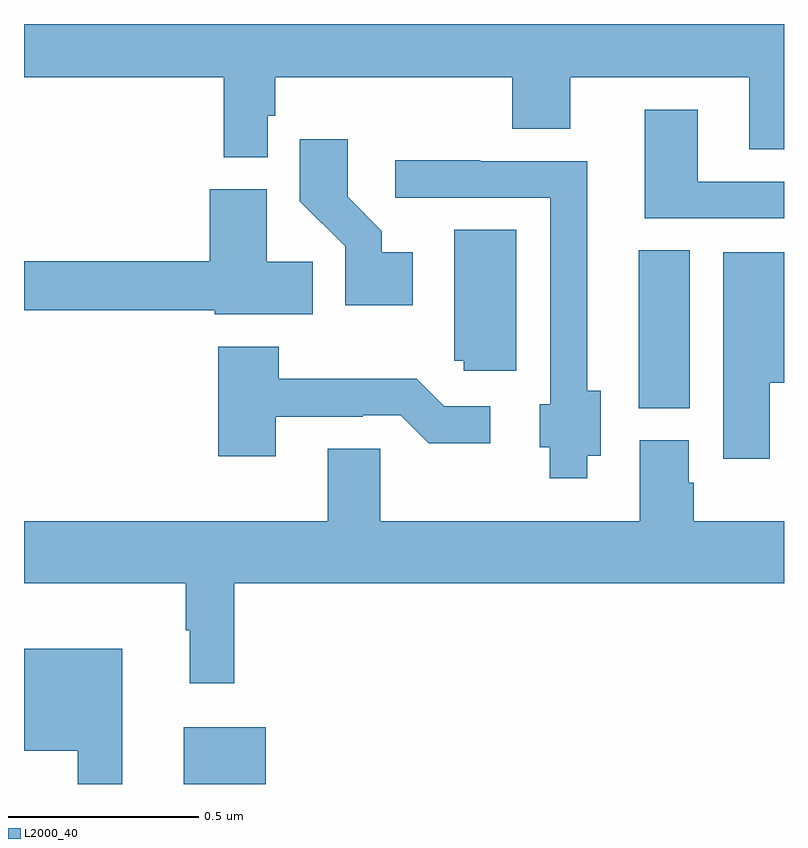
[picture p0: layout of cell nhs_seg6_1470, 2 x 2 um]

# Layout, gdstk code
import gdstk
lib = gdstk.Library(unit=1e-6, precision=1e-09)
def R(c, l, rs):  # rectangles x0, y0, x1, y1
    for r in rs: c.add(gdstk.rectangle(r[:2], r[2:], *l))
def P(c, l, *ps):  # polygons
    for p in ps: c.add(gdstk.Polygon(p, *l))
L2000_40 = (2000, 40)

nhs_seg6_1470 = lib.new_cell('nhs_seg6_1470')
R(nhs_seg6_1470, L2000_40, [(130.421,921.5,130.636,921.649), (131.618,922.489,131.752,922.904)])
P(nhs_seg6_1470, L2000_40, [(130.641,923.259),(130.661,923.259),(130.661,923.36),(131.285,923.36),(131.285,923.224),(131.437,923.224),(131.437,923.36),(131.909,923.36),(131.909,923.17),(132,923.17),(132,923.5),(130,923.5),(130,923.36),(130.525,923.36),(130.525,923.15),(130.641,923.15)],
  [(132,923.085),(131.773,923.085),(131.773,923.275),(131.633,923.275),(131.633,922.989),(132,922.989)],
  [(131.023,922.9),(130.942,922.9),(130.942,922.955),(130.852,923.045),(130.852,923.197),(130.726,923.197),(130.726,923.034),(130.845,922.915),(130.845,922.76),(131.023,922.76)],
  [(131.482,922.364),(131.518,922.364),(131.518,922.535),(131.482,922.535),(131.482,923.139),(131.201,923.139),(131.201,923.142),(130.977,923.142),(130.977,923.043),(131.385,923.043),(131.385,922.5),(131.357,922.5),(131.357,922.386),(131.384,922.386),(131.384,922.304),(131.482,922.304)],
  [(130.76,922.874),(130.639,922.874),(130.639,923.065),(130.489,923.065),(130.489,922.876),(130,922.876),(130,922.747),(130.502,922.747),(130.502,922.736),(130.76,922.736)],
  [(131.296,922.958),(131.132,922.958),(131.132,922.614),(131.157,922.614),(131.157,922.587),(131.296,922.587)],
  [(131.962,922.556),(132,922.556),(132,922.9),(131.84,922.9),(131.84,922.356),(131.962,922.356)],
  [(130.663,922.467),(130.892,922.467),(130.892,922.47),(130.992,922.47),(131.065,922.397),(131.227,922.397),(131.227,922.494),(131.106,922.494),(131.033,922.567),(130.671,922.567),(130.671,922.651),(130.511,922.651),(130.511,922.362),(130.663,922.362)],
  [(131.749,922.293),(131.749,922.404),(131.621,922.404),(131.621,922.192),(130.938,922.192),(130.938,922.382),(130.799,922.382),(130.799,922.192),(130,922.192),(130,922.028),(130.425,922.028),(130.425,921.905),(130.436,921.905),(130.436,921.765),(130.553,921.765),(130.553,922.028),(132,922.028),(132,922.192),(131.762,922.192),(131.762,922.293)],
  [(130.258,921.856),(130,921.856),(130,921.587),(130.141,921.587),(130.141,921.5),(130.258,921.5)])

lib.write_gds('nhs_seg6_1470.gds')
